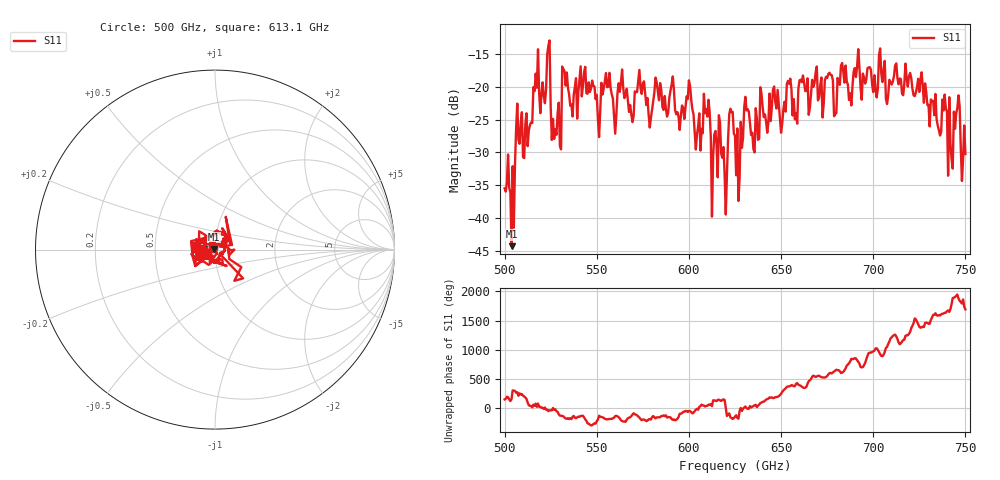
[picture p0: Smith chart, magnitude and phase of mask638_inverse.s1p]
!Created with skrf (http://scikit-rf.org).
# GHz S MA R 50.0
!freq magS11 angS11
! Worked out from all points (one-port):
!   401 points, 500 GHz to 750 GHz, reference 50 ohm
!   lowest |S11| = -44.2 dB at 503.8 GHz (marker M1), VSWR 1.01, Z = 49.5 + j0.35 ohm
!   |S11| at or under -10 dB: start of sweep to end of sweep
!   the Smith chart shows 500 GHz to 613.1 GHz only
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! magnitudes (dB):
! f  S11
! 500 GHz  -35.5
! 503.8 GHz  -44.2
! 507.5 GHz  -28.1
! 513.8 GHz  -25.9
! 516.9 GHz  -18.0
! 523.8 GHz  -13.8
! 526.9 GHz  -27.9
! 531.2 GHz  -16.9
! 532.5 GHz  -17.7
! 550.6 GHz  -24.9
! 562.5 GHz  -20.8
! 593.8 GHz  -23.9
! 609.4 GHz  -23.4
! 619.4 GHz  -33.4
! 622.5 GHz  -23.4
! 625 GHz  -27.4
! 626.2 GHz  -26.4
! 631.2 GHz  -23.6
! 634.4 GHz  -27.0
! 656.2 GHz  -24.4
! 687.5 GHz  -21.0
! 691.2 GHz  -17.0
! 718.8 GHz  -20.0
! 735.6 GHz  -26.6
! 738.8 GHz  -21.2
! 741.9 GHz  -28.6
! 745.6 GHz  -23.3
! 750 GHz  -30.2
